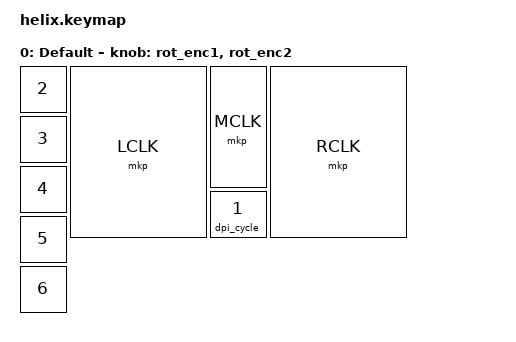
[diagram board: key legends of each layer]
#include <behaviors.dtsi>
#include <behaviors/mouse_keys.dtsi>
#include <dt-bindings/zmk/keys.h>
#include <dt-bindings/zmk/mouse.h>

#define DEF 0

/ {
    behaviors {

        ec_s_v: mouse_scroll_v {
            compatible = "zmk,behavior-input-two-axis";
            #binding-cells = <1>;
            x-input-code = <INPUT_REL_HWHEEL>;
            y-input-code = <INPUT_REL_WHEEL>;
            time-to-max-speed-ms = <177>;
            acceleration-exponent = <0>;
        };

        ec_s_h: mouse_scroll_h {
            compatible = "zmk,behavior-input-two-axis";
            #binding-cells = <1>;
            x-input-code = <INPUT_REL_HWHEEL>;
            y-input-code = <INPUT_REL_WHEEL>;
            time-to-max-speed-ms = <177>;
            acceleration-exponent = <0>;
        };

        rot_enc1: rot_enc1 {
            compatible = "zmk,behavior-sensor-rotate";
            #sensor-binding-cells = <0>;
            bindings = <&ec_s_v MOVE_Y(-37)>, <&ec_s_v MOVE_Y(37)>;
            tap-ms = <65>;
        };

        rot_enc2: rot_enc2 {
            compatible = "zmk,behavior-sensor-rotate";
            #sensor-binding-cells = <0>;
            bindings = <&ec_s_h MOVE_X(-37)>, <&ec_s_h MOVE_X(37)>;
            tap-ms = <65>;
        };
    };

    keymap {
        compatible = "zmk,keymap";

        default_layer {
            display-name = "Default";
            bindings = <
                &mkp LCLK   /* 0: LMB */
                &mkp MCLK   /* 1: MMB (scroll click) */
                &mkp RCLK   /* 2: RMB */
                &dpi_cycle 1 /* 3: DPI cycle 400→800→1600→3200 */
                &kp N2      /* 4: Btn5 */
                &kp N3      /* 5: Btn4 */
                &kp N4      /* 6: Btn3 */
                &kp N5      /* 7: Btn2 */
                &kp N6      /* 8: Btn1 */
            >;
            sensor-bindings = <&rot_enc1 &rot_enc2>;
        };
    };
};
